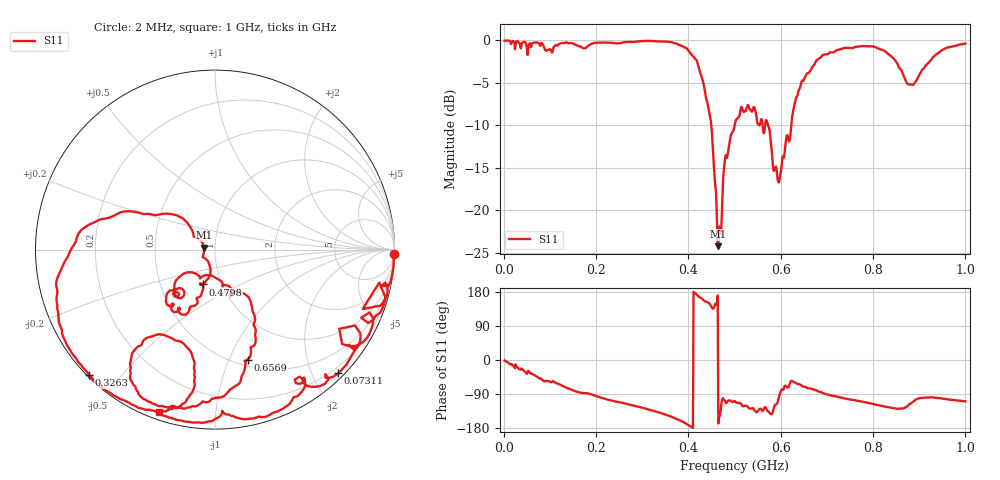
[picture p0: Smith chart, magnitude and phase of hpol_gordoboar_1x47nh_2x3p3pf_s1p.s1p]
!Agilent N9923A: A.07.32
!Date: Friday, 13 November 2020 05:12:00
!Model: N9923A
!Serial: MY52412229
!GPS Latitude:
!GPS Longitude:
!GPS TimeStamp: 0001-01-01 00:00:00Z
!GPS Seconds Since Last Read: 0
!CHECKSUM:0041313545
!Correction: S11(ON U)
!S1P File: Measurement: S11:
# Hz S DB R 50
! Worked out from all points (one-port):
!   801 points, 2 MHz to 1 GHz, reference 50 ohm
!   lowest |S11| = -24.2 dB at 463.6 MHz (marker M1), VSWR 1.13, Z = 44.3 + j0.933 ohm
!   |S11| at or under -10 dB: 449.7 MHz to 500.1 MHz (50.45 MHz wide, 10.6 % of centre); 560.8 MHz to 566.2 MHz (5.385 MHz wide, 0.956 % of centre); 572.8 MHz to 622.9 MHz (50.05 MHz wide, 8.37 % of centre)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
!   S11 on the Smith chart (normalised r, x): 2 MHz: 13, -80; 73.11 MHz: 0.10, -2.40; 326.4 MHz: 0.01, -0.41; 479.8 MHz: 0.81, -0.33; 656.9 MHz: 0.57, -1.17; 1 GHz: 0.03, -0.71
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2000000  -0.03 -1.4
7.31075e7  -0.25 -45.2
9.05725e7  -1.19 -55.9
1.2675e8  -0.31 -68.0
1.59185e8  -0.60 -83.9
2.515e8  -0.32 -111.6
3.2635e8  -0.09 -135.0
3.7625e8  -0.45 -156.6
4.124275e8  -2.01 178.9
4.323875e8  -4.98 158.2
4.48605e8  -9.48 143.3
4.63575e8  -24.21 170.2
4.68565e8  -22.13 -144.9
4.797925e8  -13.73 -109.2
5.01e8  -9.74 -109.0
5.296925e8  -7.63 -125.5
5.7086e8  -9.65 -133.2
5.9581e8  -16.71 -100.8
6.2575e8  -8.69 -56.4
6.569375e8  -3.89 -73.5
6.93115e8  -1.68 -87.9
7.505e8  -0.89 -104.7
8.3034e8  -1.48 -124.0
8.52795e8  -2.76 -128.7
8.7525e8  -5.13 -120.4
8.964575e8  -4.45 -102.4
9.214075e8  -2.55 -98.9
1e9  -0.36 -109.0
